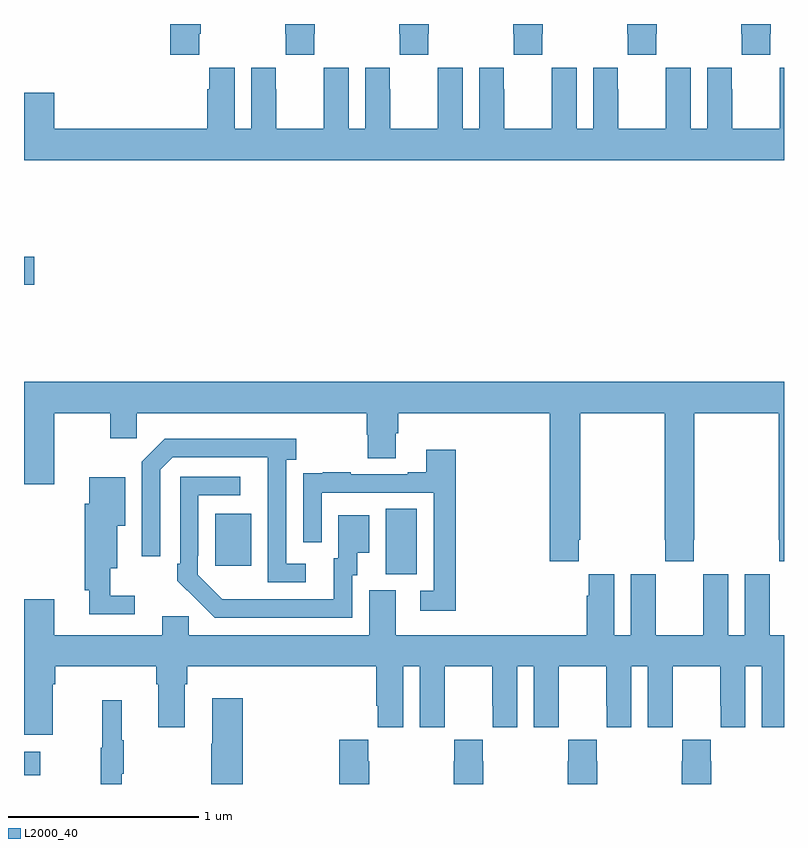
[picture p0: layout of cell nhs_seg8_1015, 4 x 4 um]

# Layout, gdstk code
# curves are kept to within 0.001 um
import gdstk
lib = gdstk.Library(unit=1e-6, precision=1e-09)
def R(c, l, rs):  # rectangles x0, y0, x1, y1
    for r in rs: c.add(gdstk.rectangle(r[:2], r[2:], *l))
def P(c, l, *ps):  # polygons
    for p in ps: c.add(gdstk.Polygon(p, *l))
L2000_40 = (2000, 40)

nhs_seg8_1015 = lib.new_cell('nhs_seg8_1015')
R(nhs_seg8_1015, L2000_40, [(177,1095.947,177.085,1096.069), (178.904,1097.005,179.068,1097.348), (178.007,1097.049,178.195,1097.323), (177,1098.527,177.055,1098.674)])
P(nhs_seg8_1015, L2000_40, [(178.527,1099.849),(178.53,1099.849),(178.53,1099.9),(178.375,1099.9),(178.375,1099.849),(178.377,1099.849),(178.377,1099.737),(178.527,1099.737)],
  [(179.127,1099.849),(179.13,1099.849),(179.13,1099.9),(178.975,1099.9),(178.975,1099.849),(178.977,1099.849),(178.977,1099.737),(179.127,1099.737)],
  [(179.727,1099.849),(179.73,1099.849),(179.73,1099.9),(179.575,1099.9),(179.575,1099.849),(179.577,1099.849),(179.577,1099.737),(179.727,1099.737)],
  [(180.327,1099.849),(180.33,1099.849),(180.33,1099.9),(180.175,1099.9),(180.175,1099.849),(180.177,1099.849),(180.177,1099.737),(180.327,1099.737)],
  [(180.927,1099.849),(180.93,1099.849),(180.93,1099.9),(180.775,1099.9),(180.775,1099.849),(180.777,1099.849),(180.777,1099.737),(180.927,1099.737)],
  [(177.923,1099.849),(177.93,1099.849),(177.93,1099.9),(177.77,1099.9),(177.77,1099.737),(177.923,1099.737)],
  [(181,1099.669),(180.978,1099.669),(180.978,1099.556),(180.977,1099.556),(180.977,1099.348),(180.727,1099.348),(180.727,1099.556),(180.726,1099.556),(180.726,1099.669),(180.596,1099.669),(180.596,1099.348),(180.508,1099.348),(180.508,1099.669),(180.378,1099.669),(180.378,1099.556),(180.377,1099.556),(180.377,1099.348),(180.127,1099.348),(180.127,1099.556),(180.126,1099.556),(180.126,1099.669),(179.996,1099.669),(179.996,1099.348),(179.908,1099.348),(179.908,1099.669),(179.778,1099.669),(179.778,1099.556),(179.777,1099.556),(179.777,1099.348),(179.527,1099.348),(179.527,1099.556),(179.526,1099.556),(179.526,1099.669),(179.396,1099.669),(179.396,1099.348),(179.308,1099.348),(179.308,1099.669),(179.178,1099.669),(179.178,1099.556),(179.177,1099.556),(179.177,1099.348),(178.927,1099.348),(178.927,1099.556),(178.926,1099.556),(178.926,1099.669),(178.796,1099.669),(178.796,1099.348),(178.708,1099.348),(178.708,1099.669),(178.578,1099.669),(178.578,1099.556),(178.577,1099.556),(178.577,1099.348),(178.327,1099.348),(178.327,1099.556),(178.326,1099.556),(178.326,1099.669),(178.196,1099.669),(178.196,1099.348),(178.108,1099.348),(178.108,1099.669),(177.974,1099.669),(177.974,1099.556),(177.965,1099.556),(177.965,1099.348),(177.16,1099.348),(177.16,1099.537),(177,1099.537),(177,1099.184),(181,1099.184)],
  [(177,1097.478),(177.16,1097.478),(177.16,1097.852),(177.455,1097.852),(177.455,1097.721),(177.594,1097.721),(177.594,1097.852),(178.805,1097.852),(178.805,1097.739),(178.81,1097.739),(178.81,1097.614),(178.957,1097.614),(178.957,1097.746),(178.97,1097.746),(178.97,1097.852),(179.768,1097.852),(179.768,1097.073),(179.921,1097.073),(179.921,1097.185),(179.928,1097.185),(179.928,1097.852),(180.373,1097.852),(180.373,1097.185),(180.375,1097.185),(180.375,1097.073),(180.525,1097.073),(180.525,1097.185),(180.528,1097.185),(180.528,1097.852),(180.973,1097.852),(180.973,1097.185),(180.975,1097.185),(180.975,1097.073),(181,1097.073),(181,1098.016),(177,1098.016)],
  [(178.483,1097.058),(178.38,1097.058),(178.38,1097.606),(178.432,1097.606),(178.432,1097.716),(177.742,1097.716),(177.621,1097.595),(177.621,1097.1),(177.717,1097.1),(177.717,1097.553),(177.783,1097.619),(178.283,1097.619),(178.284,1096.962),(178.483,1096.962)],
  [(179.273,1097.659),(179.117,1097.659),(179.117,1097.542),(179.021,1097.542),(179.021,1097.529),(178.721,1097.529),(178.721,1097.542),(178.573,1097.542),(178.573,1097.535),(178.471,1097.535),(178.471,1097.426),(178.47,1097.426),(178.47,1097.172),(178.566,1097.172),(178.566,1097.433),(179.157,1097.433),(179.157,1096.917),(179.085,1096.917),(179.085,1096.812),(179.273,1096.812)],
  [(178.728,1096.998),(178.753,1096.998),(178.753,1097.117),(178.816,1097.117),(178.816,1097.314),(178.655,1097.314),(178.655,1097.088),(178.631,1097.088),(178.631,1096.872),(178.044,1096.873),(177.915,1097.001),(177.915,1097.101),(177.918,1097.101),(177.918,1097.421),(178.138,1097.421),(178.138,1097.517),(177.822,1097.517),(177.822,1097.059),(177.807,1097.059),(177.807,1096.971),(178.004,1096.776),(178.728,1096.776)],
  [(177.583,1096.891),(177.454,1096.891),(177.454,1097.036),(177.49,1097.036),(177.49,1097.258),(177.532,1097.258),(177.532,1097.515),(177.344,1097.515),(177.344,1097.376),(177.32,1097.376),(177.32,1096.919),(177.344,1096.919),(177.344,1096.794),(177.583,1096.794)],
  [(180.796,1096.52),(180.884,1096.52),(180.884,1096.2),(181,1096.2),(181,1096.684),(180.925,1096.684),(180.925,1096.892),(180.924,1096.892),(180.924,1097.005),(180.794,1097.005),(180.794,1096.684),(180.706,1096.684),(180.706,1097.005),(180.576,1097.005),(180.576,1096.892),(180.575,1096.892),(180.575,1096.684),(180.325,1096.684),(180.325,1096.892),(180.324,1096.892),(180.324,1097.005),(180.194,1097.005),(180.194,1096.684),(180.106,1096.684),(180.106,1097.005),(179.972,1097.005),(179.972,1096.892),(179.963,1096.892),(179.963,1096.684),(178.957,1096.684),(178.957,1096.92),(178.817,1096.92),(178.817,1096.684),(177.867,1096.684),(177.867,1096.782),(177.728,1096.782),(177.728,1096.684),(177.16,1096.684),(177.16,1096.873),(177,1096.873),(177,1096.158),(177.151,1096.158),(177.151,1096.424),(177.164,1096.424),(177.164,1096.52),(177.695,1096.52),(177.695,1096.424),(177.707,1096.424),(177.707,1096.2),(177.847,1096.2),(177.847,1096.424),(177.86,1096.424),(177.86,1096.52),(178.853,1096.52),(178.853,1096.312),(178.862,1096.312),(178.862,1096.2),(178.996,1096.2),(178.996,1096.52),(179.084,1096.52),(179.084,1096.2),(179.214,1096.2),(179.214,1096.312),(179.215,1096.312),(179.215,1096.52),(179.465,1096.52),(179.465,1096.312),(179.466,1096.312),(179.466,1096.2),(179.596,1096.2),(179.596,1096.52),(179.684,1096.52),(179.684,1096.2),(179.814,1096.2),(179.814,1096.312),(179.815,1096.312),(179.815,1096.52),(180.065,1096.52),(180.065,1096.312),(180.066,1096.312),(180.066,1096.2),(180.196,1096.2),(180.196,1096.52),(180.284,1096.52),(180.284,1096.2),(180.414,1096.2),(180.414,1096.312),(180.415,1096.312),(180.415,1096.52),(180.665,1096.52),(180.665,1096.312),(180.666,1096.312),(180.666,1096.2),(180.796,1096.2)],
  [(178.151,1096.351),(177.992,1096.351),(177.992,1096.112),(177.985,1096.112),(177.985,1095.9),(178.151,1095.9)],
  [(177.515,1095.955),(177.526,1095.955),(177.526,1096.129),(177.515,1096.129),(177.515,1096.342),(177.412,1096.342),(177.412,1096.092),(177.405,1096.092),(177.405,1095.9),(177.515,1095.9)],
  [(180.618,1096.019),(180.615,1096.019),(180.615,1096.132),(180.465,1096.132),(180.465,1096.019),(180.463,1096.019),(180.463,1095.9),(180.618,1095.9)],
  [(180.018,1096.019),(180.015,1096.019),(180.015,1096.132),(179.865,1096.132),(179.865,1096.019),(179.863,1096.019),(179.863,1095.9),(180.018,1095.9)],
  [(179.418,1096.019),(179.415,1096.019),(179.415,1096.132),(179.265,1096.132),(179.265,1096.019),(179.263,1096.019),(179.263,1095.9),(179.418,1095.9)],
  [(178.818,1096.019),(178.811,1096.019),(178.811,1096.132),(178.658,1096.132),(178.658,1095.9),(178.818,1095.9)])

lib.write_gds('nhs_seg8_1015.gds')
